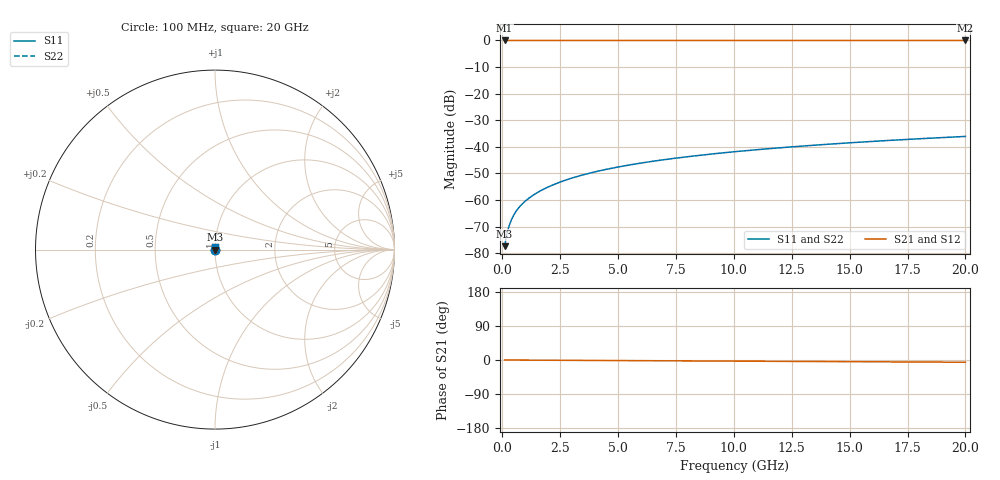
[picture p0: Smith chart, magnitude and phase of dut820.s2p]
! Touchstone file exported from HFSS 2026.1.0
!  File:  C:/ffzhzh/LocalFiles/Ansys_Project_Files/temp_train_TSV_820_1783184519_55132.aedt
!  Generated:  01:03:35 AM Jul  5, 2026
!  Design:  TSV
!  Project:  temp_train_TSV_820_1783184519_55132
! Variables:
!  h_bsmrdl = 2um
!  h_ox = 20um
!  h_rdl = 5um
!  h_sub = 52.8um
!  h_tmrdl = 5um
!  h_tsv = 52.8um
!  h_via = 3um
!  l_bsmrdl = 300um
!  l_sub = 421.9um
!  l_tmrdl = 200um
!  m_sub = 200um
!  pitch = 51.22um
!  r_tsv = 10.95um
!  s_tmrdl = 10um
!  w_bsmrdl = 18um
!  w_sub = 500um
!  w_tmrdl = 12um
!  x_tsv_center1 = 206um
!  x_tsv_center2 = 524um
!  x_tsv_center3 = 736um
!  x_tsv_center4 = 1054um
!  x_tsv_center5 = 1266um
!  x_tsv_center6 = 1584um
# GHz S MA R 50.000000
! Terminal data exported
! Port[1] = TSV1_1_T1
! Port[2] = TSV1_1_T2
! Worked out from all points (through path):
!   200 points, 100 MHz to 20 GHz, reference 50 ohm
!   highest |S21| = 0.00 dB at 100 MHz (marker M1); lowest = 0.0 dB at 20 GHz (marker M2)
!   lowest |S11| = -77.4 dB at 100 MHz (marker M3), VSWR 1.00, Z = 50 + j0.0107 ohm
!   |S11| at or under -10 dB: start of sweep to end of sweep
!   |S22| runs from -77.4 to -36.1 dB; largest |S21 - S12| = 1.2e-15
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0.1  0.0001353 52.6  0.9999 -0.0  0.9999 -0.0  0.0001353 52.6
! Gamma 0 0 0 0
! Port Impedance 50 0 50 0
0.2  0.0002314 67.0  0.9999 -0.1  0.9999 -0.1  0.0002314 67.0
0.3  0.0003315 71.9  0.9999 -0.1  0.9999 -0.1  0.0003315 71.9
0.4  0.0004297 74.0  0.9999 -0.1  0.9999 -0.1  0.0004297 74.0
0.5  0.0005246 75.1  0.9999 -0.2  0.9999 -0.2  0.0005246 75.1
0.6  0.0006162 75.8  0.9999 -0.2  0.9999 -0.2  0.0006162 75.8
0.7  0.0007049 76.3  0.9998 -0.2  0.9998 -0.2  0.0007049 76.3
0.9  0.0008759 77.1  0.9998 -0.3  0.9998 -0.3  0.0008759 77.1
1.1  0.001042 77.9  0.9998 -0.3  0.9998 -0.3  0.001042 77.9
1.3  0.001205 78.6  0.9998 -0.4  0.9998 -0.4  0.001205 78.6
1.6  0.001447 79.4  0.9997 -0.5  0.9997 -0.5  0.001447 79.4
1.9  0.001689 80.2  0.9997 -0.6  0.9997 -0.6  0.001689 80.2
2.6  0.002254 81.4  0.9997 -0.8  0.9997 -0.8  0.002254 81.4
3.5  0.002977 82.2  0.9996 -1.0  0.9996 -1.0  0.002977 82.2
4.2  0.003536 82.5  0.9996 -1.3  0.9996 -1.3  0.003536 82.5
5  0.00417 82.7  0.9996 -1.5  0.9996 -1.5  0.00417 82.7
6.8  0.005581 82.9  0.9995 -2.0  0.9995 -2.0  0.005581 82.9
8.3  0.006746 82.9  0.9994 -2.5  0.9994 -2.5  0.006746 82.9
10.1  0.008135 82.7  0.9994 -3.0  0.9994 -3.0  0.008135 82.7
13.4  0.01067 82.3  0.9993 -4.0  0.9993 -4.0  0.01067 82.3
16.7  0.01318 81.7  0.9991 -4.9  0.9991 -4.9  0.01318 81.7
20  0.01567 81.0  0.999 -5.9  0.999 -5.9  0.01567 81.0
